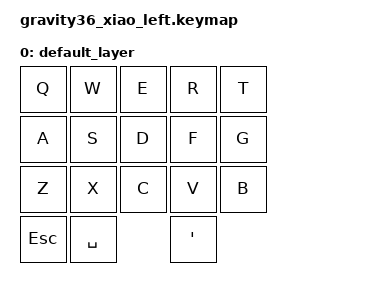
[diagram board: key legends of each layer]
#define RGBLED_WIDGET_COLOR_BLACK   0
#define RGBLED_WIDGET_COLOR_RED     1
#define RGBLED_WIDGET_COLOR_GREEN   2
#define RGBLED_WIDGET_COLOR_YELLOW  3
#define RGBLED_WIDGET_COLOR_BLUE    4
#define RGBLED_WIDGET_COLOR_MAGENTA 5
#define RGBLED_WIDGET_COLOR_CYAN    6
#define RGBLED_WIDGET_COLOR_WHITE   7

#include <behaviors.dtsi>
#include <dt-bindings/zmk/keys.h>

/ {
    aliases {
        led-red = &led0;
        led-green = &led1;
        led-blue = &led2;
    };
};

/ {
    keymap {
        compatible = "zmk,keymap";
        default_layer {
            bindings = <
                /* 左手側担当分 (18キー) */
                &kp Q &kp W &kp E &kp R &kp T
                &kp A &kp S &kp D &kp F &kp G
                &kp Z &kp X &kp C &kp V &kp B
                &kp ESC &kp SPACE &kp APOS
            >;
        };
    };
};
